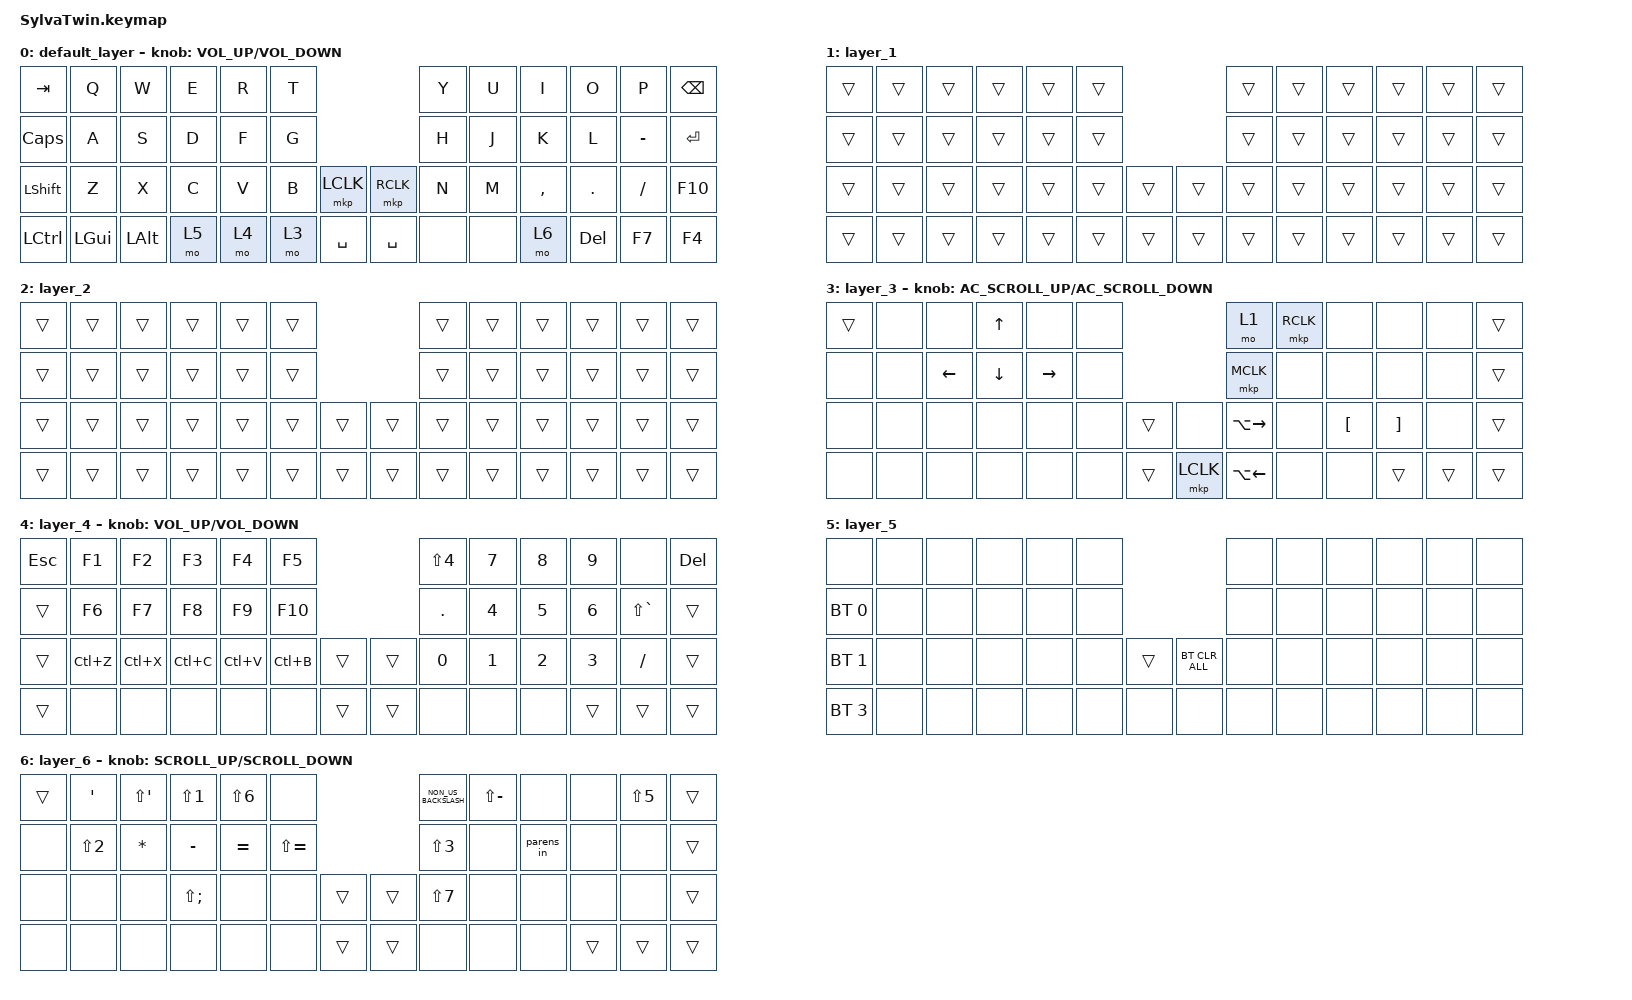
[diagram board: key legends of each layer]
/*
* Copyright (c) 2020 The ZMK Contributors
* * SPDX-License-Identifier: MIT
*/

#include <behaviors.dtsi>
#include <dt-bindings/zmk/bt.h>
#include <dt-bindings/zmk/keys.h>
#include <dt-bindings/zmk/pointing.h>

/ {
    combos {
        compatible = "zmk,combos";

        prtsc {
            bindings = <&kp PRINTSCREEN>;
            key-positions = <10 11>;
        };

        RightClick {
            bindings = <&mkp RCLK>;
            key-positions = <30 44>;
        };

        MiddleClick {
            bindings = <&mkp MCLK>;
            key-positions = <29 43>;
        };

        RightClick2 {
            bindings = <&mkp RCLK>;
            key-positions = <31 45>;
        };

        MiddleClick2 {
            bindings = <&mkp MCLK>;
            key-positions = <32 46>;
        };

        zen-han {
            bindings = <&kp GRAVE>;
            key-positions = <0 1>;
        };

        paste {
            bindings = <&kp LC(V)>;
            key-positions = <42 28>;
        };

        copy {
            bindings = <&kp LC(C)>;
            key-positions = <41 27>;
        };

        cut {
            bindings = <&kp LC(X)>;
            key-positions = <40 26>;
        };

        prev_click {
            bindings = <&mkp MB4>;
            key-positions = <29 30>;
        };
    };

    macros {
        parens_in: parens_in {
            compatible = "zmk,behavior-macro";
            #binding-cells = <0>;
            wait-ms = <30>;
            tap-ms = <30>;
            bindings = <&kp LPAR &kp RPAR &kp LEFT_ARROW>;
        };
    };

    keymap {
        compatible = "zmk,keymap";

        default_layer {
            bindings = <
&kp TAB     &kp Q     &kp W     &kp E  &kp R  &kp T                        &kp Y  &kp U  &kp I      &kp O    &kp P      &kp BSPC
&kp CAPS    &kp A     &kp S     &kp D  &kp F  &kp G                        &kp H  &kp J  &kp K      &kp L    &kp MINUS  &kp ENTER
&kp LSHIFT  &kp Z     &kp X     &kp C  &kp V  &kp B  &mkp LCLK  &mkp RCLK  &kp N  &kp M  &kp COMMA  &kp DOT  &kp SLASH  &kp F10
&kp LCTRL   &kp LGUI  &kp LALT  &mo 5  &mo 4  &mo 3  &kp SPACE  &kp SPACE  &none  &none  &mo 6      &kp DEL  &kp F7     &kp F4
            >;

            sensor-bindings = <&inc_dec_kp C_VOLUME_UP C_VOLUME_DOWN>;
        };

        layer_1 {
            bindings = <
&trans  &trans  &trans  &trans  &trans  &trans                  &trans  &trans  &trans  &trans  &trans  &trans
&trans  &trans  &trans  &trans  &trans  &trans                  &trans  &trans  &trans  &trans  &trans  &trans
&trans  &trans  &trans  &trans  &trans  &trans  &trans  &trans  &trans  &trans  &trans  &trans  &trans  &trans
&trans  &trans  &trans  &trans  &trans  &trans  &trans  &trans  &trans  &trans  &trans  &trans  &trans  &trans
            >;
        };

        layer_2 {
            bindings = <
&trans  &trans  &trans  &trans  &trans  &trans                  &trans  &trans  &trans  &trans  &trans  &trans
&trans  &trans  &trans  &trans  &trans  &trans                  &trans  &trans  &trans  &trans  &trans  &trans
&trans  &trans  &trans  &trans  &trans  &trans  &trans  &trans  &trans  &trans  &trans  &trans  &trans  &trans
&trans  &trans  &trans  &trans  &trans  &trans  &trans  &trans  &trans  &trans  &trans  &trans  &trans  &trans
            >;
        };

        layer_3 {
            bindings = <
&trans  &none  &none           &kp UP_ARROW    &none            &none                     &mo 1                &mkp RCLK  &none             &none              &none   &trans
&none   &none  &kp LEFT_ARROW  &kp DOWN_ARROW  &kp RIGHT_ARROW  &none                     &mkp MCLK            &none      &none             &none              &none   &trans
&none   &none  &none           &none           &none            &none  &trans  &none      &kp LA(RIGHT_ARROW)  &none      &kp LEFT_BRACKET  &kp RIGHT_BRACKET  &none   &trans
&none   &none  &none           &none           &none            &none  &trans  &mkp LCLK  &kp LA(LEFT_ARROW)   &none      &none             &trans             &trans  &trans
            >;

            sensor-bindings = <&inc_dec_kp C_AC_SCROLL_UP C_AC_SCROLL_DOWN>;
        };

        layer_4 {
            bindings = <
&kp ESCAPE  &kp F1     &kp F2     &kp F3     &kp F4     &kp F5                     &kp LS(NUMBER_4)  &kp NUMBER_7  &kp NUMBER_8  &kp NUMBER_9  &none          &kp DELETE
&trans      &kp F6     &kp F7     &kp F8     &kp F9     &kp F10                    &kp PERIOD        &kp NUMBER_4  &kp NUMBER_5  &kp NUMBER_6  &kp LS(GRAVE)  &trans
&trans      &kp LC(Z)  &kp LC(X)  &kp LC(C)  &kp LC(V)  &kp LC(B)  &trans  &trans  &kp NUMBER_0      &kp NUMBER_1  &kp NUMBER_2  &kp NUMBER_3  &kp SLASH      &trans
&trans      &none      &none      &none      &none      &none      &trans  &trans  &none             &none         &none         &trans        &trans         &trans
            >;

            sensor-bindings = <&inc_dec_kp K_VOLUME_UP K_VOLUME_DOWN>;
        };

        layer_5 {
            bindings = <
&none         &none  &none  &none  &none  &none                          &none  &none  &none  &none  &none  &none
&bt BT_SEL 0  &none  &none  &none  &none  &none                          &none  &none  &none  &none  &none  &none
&bt BT_SEL 1  &none  &none  &none  &none  &none  &trans  &bt BT_CLR_ALL  &none  &none  &none  &none  &none  &none
&bt BT_SEL 3  &none  &none  &none  &none  &none  &none   &none           &none  &none  &none  &none  &none  &none
            >;
        };

        layer_6 {
            bindings = <
&trans  &kp SQT           &kp LS(SQT)  &kp LS(NUMBER_1)   &kp LS(NUMBER_6)  &none                          &kp NON_US_BACKSLASH  &kp LS(MINUS)  &none       &none   &kp LS(N5)  &trans
&none   &kp LS(NUMBER_2)  &kp STAR     &kp MINUS          &kp EQUAL         &kp LS(EQUAL)                  &kp LS(NUMBER_3)      &none          &parens_in  &none   &none       &trans
&none   &none             &none        &kp LS(SEMICOLON)  &none             &none          &trans  &trans  &kp LS(N7)            &none          &none       &none   &none       &trans
&none   &none             &none        &none              &none             &none          &trans  &trans  &none                 &none          &none       &trans  &trans      &trans
            >;

            sensor-bindings = <&inc_dec_kp K_SCROLL_UP K_SCROLL_DOWN>;
        };
    };
};
